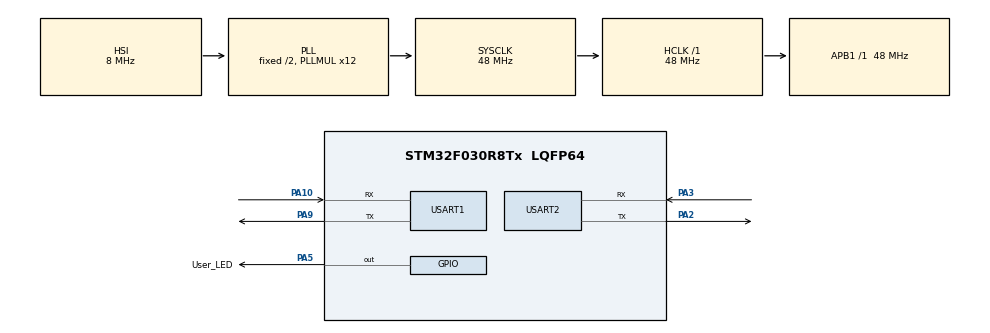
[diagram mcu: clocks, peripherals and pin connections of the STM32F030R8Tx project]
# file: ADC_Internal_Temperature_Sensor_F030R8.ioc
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ADC.ContinuousConvMode=ENABLE
ADC.SamplingTime=ADC_SAMPLETIME_239CYCLES_5
Mcu.Family=STM32F0
Mcu.Name=STM32F030R8Tx
Mcu.Package=LQFP64
PA10.Mode=Asynchronous
PA10.Signal=USART1_RX
PA13.Mode=Serial_Wire
PA13.Signal=SYS_SWDIO
PA14.Mode=Serial_Wire
PA14.Signal=SYS_SWCLK
PA2.Mode=Asynchronous
PA2.Signal=USART2_TX
PA3.Mode=Asynchronous
PA3.Signal=USART2_RX
PA5.GPIO_Label=User_LED
PA5.GPIO_Speed=GPIO_SPEED_FREQ_MEDIUM
PA5.Signal=GPIO_Output
PA9.Mode=Asynchronous
PA9.Signal=USART1_TX
ProjectManager.HeapSize=0x200
ProjectManager.StackSize=0x400
ProjectManager.TargetToolchain=STM32CubeIDE
RCC.AHBFreq_Value=48000000
RCC.APB1Freq_Value=48000000
RCC.APB1TimFreq_Value=48000000
RCC.HCLKFreq_Value=48000000
RCC.PLLMUL=RCC_PLL_MUL12
RCC.SYSCLKFreq_VALUE=48000000
RCC.SYSCLKSource=RCC_SYSCLKSOURCE_PLLCLK
USART1.VirtualMode-Asynchronous=VM_ASYNC
USART2.VirtualMode-Asynchronous=VM_ASYNC
VP_ADC_TempSens_Input.Mode=IN-TempSens
board=NUCLEO-F030R8

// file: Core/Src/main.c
/* USER CODE BEGIN Header */
/**
 ******************************************************************************
 * @file           : main.c
 * @brief          : Main program body
 ******************************************************************************
 * @attention
 *
 * Copyright (c) 2026 STMicroelectronics.
 * All rights reserved.
 *
 * This software is licensed under terms that can be found in the LICENSE file
 * in the root directory of this software component.
 * If no LICENSE file comes with this software, it is provided AS-IS.
 *
 ******************************************************************************
 */
/* USER CODE END Header */
#include "main.h"

/* USER CODE BEGIN Includes */
#include "stdio.h"    //sprintf fonksiyonunu kullanabilmek icin yazildi
#include "string.h"   //strlen fonksiyonunu kullanabilmek icin yazildi
/* USER CODE END Includes */

/* USER CODE BEGIN PD */
#define V30 1.43f
#define Avg_Slope 0.0043f
#define VSTEP (3.3f / 4096.0f)
#define TS_CAL1  (*(uint16_t*)0x1FFFF7B8)  // 30°C, VDDA=3.3V'de fabrika kalibrasyonu
/* USER CODE END PD */

ADC_HandleTypeDef hadc;

UART_HandleTypeDef huart1;
UART_HandleTypeDef huart2;

/* USER CODE BEGIN PV */
uint32_t ADC_Value = 0;    //adc okunan degeri kayit etmek icin yazildi
float temperature = 0;       //sicaklik degerini kayit etmek icin yazildi
char buffer[50];
/* USER CODE END PV */

void SystemClock_Config(void);
static void MX_GPIO_Init(void);
static void MX_ADC_Init(void);
static void MX_USART1_UART_Init(void);
static void MX_USART2_UART_Init(void);
/* USER CODE BEGIN PFP */
//DENEME
/* USER CODE END PFP */

/* USER CODE BEGIN 0 */
float Read_Temperature(uint32_t *ADC_Value) { //fonksiyon ayni anda hem sicaklik hem adc degerini donduremez, bu nedenle adc degeri pointer olarak fonksiyona verildi
	float temperature;     //sicaklik degerini kayit etmek icin yazildi
	HAL_ADC_Start(&hadc);     //adc yi baslatmak icin yazildi
	if (HAL_ADC_PollForConversion(&hadc, HAL_MAX_DELAY) == HAL_OK) { //donusum tamamlandiysa HAL_ADC_PollForConversion fonksiyonu HAL_OK ciktisi (StatusTypeDef) uretir
		*ADC_Value = HAL_ADC_GetValue(&hadc);   //okunan adc degeri kayit edildi
	}
	HAL_ADC_Stop(&hadc);      //adc durduruldu
	float VSENSE = (float) (*ADC_Value * VSTEP);
	//temperature = ((V30 - VSENSE) / Avg_Slope) + 30;

	float VSENSE_CAL1 = TS_CAL1 * VSTEP;  // fabrika kalibrasyon voltajı
	temperature = ((VSENSE_CAL1 - VSENSE) / Avg_Slope) + 30;

	return temperature;     //fonksiyon sicaklik degerini geri donduruyor
}
/* USER CODE END 0 */

int main(void)
{

  /* MCU Configuration--------------------------------------------------------*/

  /* Reset of all peripherals, Initializes the Flash interface and the Systick. */
  HAL_Init();

  /* Configure the system clock */
  SystemClock_Config();

  /* Initialize all configured peripherals */
  MX_GPIO_Init();
  MX_ADC_Init();
  MX_USART1_UART_Init();
  MX_USART2_UART_Init();
  /* USER CODE BEGIN 2 */
	HAL_ADCEx_Calibration_Start(&hadc);
  /* USER CODE END 2 */

  /* Infinite loop */
	while (1) {

    /* USER CODE BEGIN 3 */
		temperature = Read_Temperature(&ADC_Value);
		sprintf(buffer, "Temperature: %.2f °C\r\n",temperature);   //bulunan sicaklik degerlerini uarttan basmadan once string haline getirilerek buffer dizisine yuklemek icin yazdildi
		HAL_UART_Transmit(&huart2, (uint8_t*)buffer, strlen(buffer), HAL_MAX_DELAY);    //buffer dizisine kaydedilen degerini once uint8 tipine çevirip uarttan basmak icin yazildi
		HAL_Delay(1000);     //1 saniyede bir basmak icin bekleme yazildi
	}
  /* USER CODE END 3 */
}

void SystemClock_Config(void)
{
  RCC_OscInitTypeDef RCC_OscInitStruct = {0};
  RCC_ClkInitTypeDef RCC_ClkInitStruct = {0};
  RCC_PeriphCLKInitTypeDef PeriphClkInit = {0};

  /** Initializes the RCC Oscillators according to the specified parameters
  * in the RCC_OscInitTypeDef structure.
  */
  RCC_OscInitStruct.OscillatorType = RCC_OSCILLATORTYPE_HSI|RCC_OSCILLATORTYPE_HSI14;
  RCC_OscInitStruct.HSIState = RCC_HSI_ON;
  RCC_OscInitStruct.HSI14State = RCC_HSI14_ON;
  RCC_OscInitStruct.HSICalibrationValue = RCC_HSICALIBRATION_DEFAULT;
  RCC_OscInitStruct.HSI14CalibrationValue = 16;
  RCC_OscInitStruct.PLL.PLLState = RCC_PLL_ON;
  RCC_OscInitStruct.PLL.PLLSource = RCC_PLLSOURCE_HSI;
  RCC_OscInitStruct.PLL.PLLMUL = RCC_PLL_MUL12;
  RCC_OscInitStruct.PLL.PREDIV = RCC_PREDIV_DIV1;
  if (HAL_RCC_OscConfig(&RCC_OscInitStruct) != HAL_OK)
  {
    Error_Handler();
  }

  /** Initializes the CPU, AHB and APB buses clocks
  */
  RCC_ClkInitStruct.ClockType = RCC_CLOCKTYPE_HCLK|RCC_CLOCKTYPE_SYSCLK
                              |RCC_CLOCKTYPE_PCLK1;
  RCC_ClkInitStruct.SYSCLKSource = RCC_SYSCLKSOURCE_PLLCLK;
  RCC_ClkInitStruct.AHBCLKDivider = RCC_SYSCLK_DIV1;
  RCC_ClkInitStruct.APB1CLKDivider = RCC_HCLK_DIV1;

  if (HAL_RCC_ClockConfig(&RCC_ClkInitStruct, FLASH_LATENCY_1) != HAL_OK)
  {
    Error_Handler();
  }
  PeriphClkInit.PeriphClockSelection = RCC_PERIPHCLK_USART1;
  PeriphClkInit.Usart1ClockSelection = RCC_USART1CLKSOURCE_PCLK1;
  if (HAL_RCCEx_PeriphCLKConfig(&PeriphClkInit) != HAL_OK)
  {
    Error_Handler();
  }
}

static void MX_ADC_Init(void)
{

  ADC_ChannelConfTypeDef sConfig = {0};

  /** Configure the global features of the ADC (Clock, Resolution, Data Alignment and number of conversion)
  */
  hadc.Instance = ADC1;
  hadc.Init.ClockPrescaler = ADC_CLOCK_ASYNC_DIV1;
  hadc.Init.Resolution = ADC_RESOLUTION_12B;
  hadc.Init.DataAlign = ADC_DATAALIGN_RIGHT;
  hadc.Init.ScanConvMode = ADC_SCAN_DIRECTION_FORWARD;
  hadc.Init.EOCSelection = ADC_EOC_SINGLE_CONV;
  hadc.Init.LowPowerAutoWait = DISABLE;
  hadc.Init.LowPowerAutoPowerOff = DISABLE;
  hadc.Init.ContinuousConvMode = ENABLE;
  hadc.Init.DiscontinuousConvMode = DISABLE;
  hadc.Init.ExternalTrigConv = ADC_SOFTWARE_START;
  hadc.Init.ExternalTrigConvEdge = ADC_EXTERNALTRIGCONVEDGE_NONE;
  hadc.Init.DMAContinuousRequests = DISABLE;
  hadc.Init.Overrun = ADC_OVR_DATA_PRESERVED;
  if (HAL_ADC_Init(&hadc) != HAL_OK)
  {
    Error_Handler();
  }

  /** Configure for the selected ADC regular channel to be converted.
  */
  sConfig.Channel = ADC_CHANNEL_TEMPSENSOR;
  sConfig.Rank = ADC_RANK_CHANNEL_NUMBER;
  sConfig.SamplingTime = ADC_SAMPLETIME_239CYCLES_5;
  if (HAL_ADC_ConfigChannel(&hadc, &sConfig) != HAL_OK)
  {
    Error_Handler();
  }

}

static void MX_USART1_UART_Init(void)
{

  huart1.Instance = USART1;
  huart1.Init.BaudRate = 38400;
  huart1.Init.WordLength = UART_WORDLENGTH_8B;
  huart1.Init.StopBits = UART_STOPBITS_1;
  huart1.Init.Parity = UART_PARITY_NONE;
  huart1.Init.Mode = UART_MODE_TX_RX;
  huart1.Init.HwFlowCtl = UART_HWCONTROL_NONE;
  huart1.Init.OverSampling = UART_OVERSAMPLING_16;
  huart1.Init.OneBitSampling = UART_ONE_BIT_SAMPLE_DISABLE;
  huart1.AdvancedInit.AdvFeatureInit = UART_ADVFEATURE_NO_INIT;
  if (HAL_UART_Init(&huart1) != HAL_OK)
  {
    Error_Handler();
  }

}

static void MX_USART2_UART_Init(void)
{

  huart2.Instance = USART2;
  huart2.Init.BaudRate = 38400;
  huart2.Init.WordLength = UART_WORDLENGTH_8B;
  huart2.Init.StopBits = UART_STOPBITS_1;
  huart2.Init.Parity = UART_PARITY_NONE;
  huart2.Init.Mode = UART_MODE_TX_RX;
  huart2.Init.HwFlowCtl = UART_HWCONTROL_NONE;
  huart2.Init.OverSampling = UART_OVERSAMPLING_16;
  huart2.Init.OneBitSampling = UART_ONE_BIT_SAMPLE_DISABLE;
  huart2.AdvancedInit.AdvFeatureInit = UART_ADVFEATURE_NO_INIT;
  if (HAL_UART_Init(&huart2) != HAL_OK)
  {
    Error_Handler();
  }

}

static void MX_GPIO_Init(void)
{
  GPIO_InitTypeDef GPIO_InitStruct = {0};

  /* GPIO Ports Clock Enable */
  __HAL_RCC_GPIOA_CLK_ENABLE();

  /*Configure GPIO pin Output Level */
  HAL_GPIO_WritePin(User_LED_GPIO_Port, User_LED_Pin, GPIO_PIN_RESET);

  /*Configure GPIO pin : User_LED_Pin */
  GPIO_InitStruct.Pin = User_LED_Pin;
  GPIO_InitStruct.Mode = GPIO_MODE_OUTPUT_PP;
  GPIO_InitStruct.Pull = GPIO_NOPULL;
  GPIO_InitStruct.Speed = GPIO_SPEED_FREQ_MEDIUM;
  HAL_GPIO_Init(User_LED_GPIO_Port, &GPIO_InitStruct);

}

void Error_Handler(void)
{
	__disable_irq();
	while (1) {
	}
}
